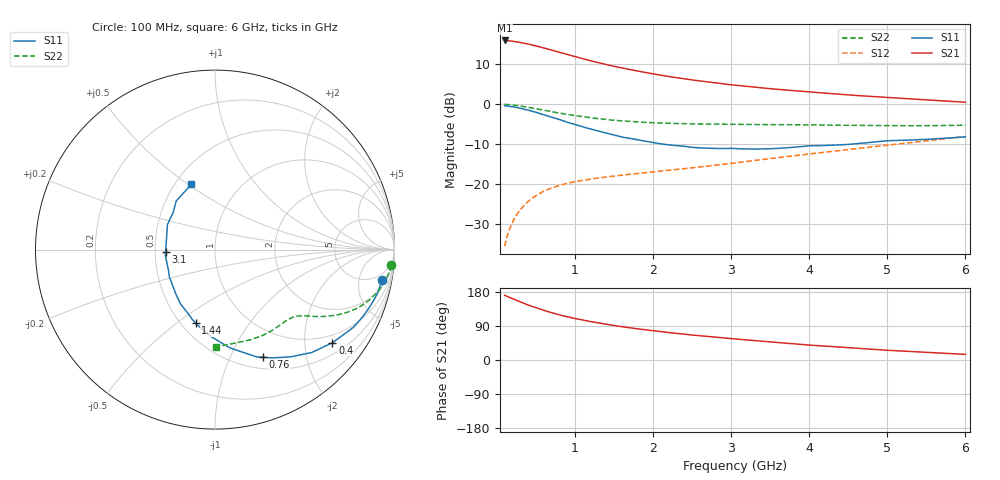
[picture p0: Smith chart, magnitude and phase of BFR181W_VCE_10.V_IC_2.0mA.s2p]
! Infineon Technologies  Discrete & RF Semiconductors
! BFR181W
! VCE =  10. V,  IC =  2.0 mA
! Common Emitter S-Parameters:  Nov 2015
# GHz  S  MA  R  50
!  f  S11  S21  S12  S22
! GHz  MAG  ANG  MAG  ANG  MAG  ANG  MAG  ANG
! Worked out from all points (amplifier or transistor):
!   192 points, 100 MHz to 6 GHz, reference 50 ohm
!   highest |S21| = 15.8 dB at 100 MHz (marker M1)
!   |S21| within 3 dB of that: start of sweep to 813 MHz
!   unconditionally stable (mu >= 1): 2.201 GHz to 3.648 GHz
!   at 440 MHz: K = 0.28, MSG = 19.2 dB, |S12| = -23.8 dB
!   at 1.7 GHz: K = 0.88, MSG = 13.1 dB, |S12| = -17.6 dB
!   at 6 GHz: K = 0.80, MSG = 4.3 dB, |S12| = -8.1 dB
!   S11 on the Smith chart (normalised r, x): 100 MHz: 3, -10; 400 MHz: 0.78, -2.67; 760 MHz: 0.63, -1.33; 1.44 GHz: 0.59, -0.59; 3.1 GHz: 0.57, -0.02; 6 GHz: 0.60, +0.52
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0.1  0.947 -10.2  6.167 170.9  0.0168 83.3  0.9865 -5.0
0.16  0.9332 -16.2  6.101 165.3  0.0268 79.7  0.9761 -8.0
0.24  0.9058 -23.9  5.965 158.5  0.0392 75.7  0.9566 -11.6
0.3  0.8836 -29.5  5.824 153.5  0.0478 72.7  0.9397 -14.2
0.4  0.835 -38.4  5.581 145.1  0.0605 68.0  0.9054 -18.1
0.5  0.7868 -46.8  5.285 137.8  0.0717 63.7  0.8689 -21.4
0.6  0.7312 -54.8  4.99 131.1  0.0814 60.6  0.8329 -24.2
0.7  0.6823 -62.2  4.683 124.7  0.0893 57.7  0.7983 -26.5
0.76  0.6558 -66.1  4.511 121.5  0.0933 56.4  0.7792 -27.7
0.9  0.5901 -75.2  4.12 114.1  0.102 53.7  0.7386 -30.0
1  0.5536 -81.4  3.888 109.5  0.107 52.4  0.7132 -31.5
1.1  0.5174 -86.5  3.655 105.7  0.1113 51.3  0.6914 -32.6
1.2  0.486 -92.4  3.441 101.3  0.1156 50.3  0.6699 -33.8
1.44  0.4225 -104.9  3.028 92.9  0.1235 49.3  0.6315 -35.8
1.6  0.3858 -113.0  2.804 87.8  0.1291 49.3  0.613 -37.0
1.8  0.358 -122.6  2.565 82.3  0.1352 49.7  0.5933 -38.5
2.08  0.3194 -135.1  2.291 75.3  0.144 50.8  0.5766 -40.7
2.5  0.2868 -153.6  1.984 65.8  0.1592 52.8  0.5623 -43.9
3.1  0.2757 -176.9  1.689 54.6  0.1859 55.6  0.554 -50.0
4.1  0.3006 149.4  1.383 38.1  0.2429 57.5  0.5448 -62.6
5.1  0.3486 126.6  1.186 24.6  0.3123 56.5  0.5334 -76.7
6  0.3874 109.8  1.047 14.8  0.3913 53.7  0.5421 -89.7
